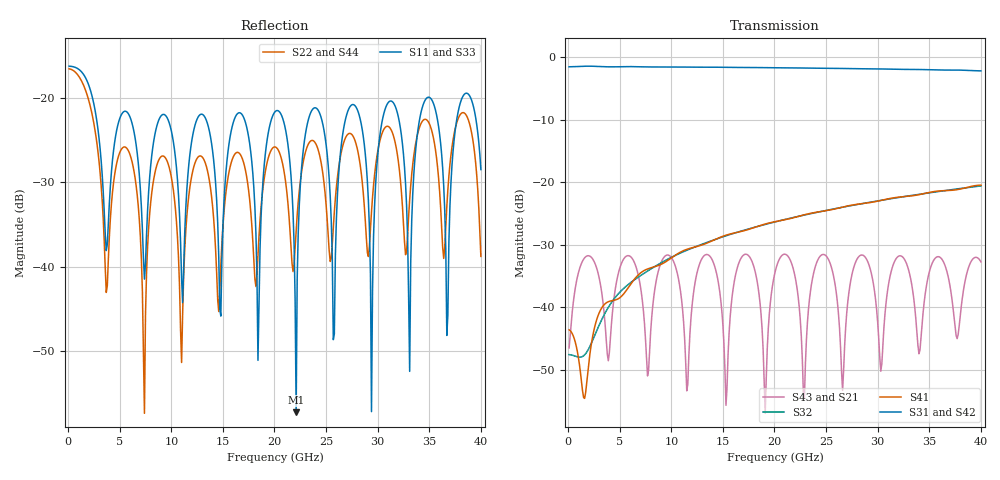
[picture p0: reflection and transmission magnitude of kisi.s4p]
! T_ts6_broadside_o0: Broadside: In2 over In3 across the 0.93 mm core, lateral offset 0 mm, 20 mm
! stackup: ThunderScope Rev5.3 6-layer (FR408HR / FR-4, from the board file)
! ports: 1 near A, 2 near B, 3 far A, 4 far B
! kisi-fdtd, conformal, dfine 0.035 mm, 615328 cells
# Hz S RI R 50
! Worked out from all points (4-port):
!   400 points, 100 MHz to 40 GHz, reference 50 ohm
!   strongest paths, dB at 100 MHz, 10.1 GHz, 20.1 GHz, 30.1 GHz, 40 GHz:
!     S31: -1.5, -1.5, -1.7, -1.8, -2.2
!     S42: -1.4, -1.5, -1.7, -1.9, -2.2
!     S41: -43.6, -32.0, -26.3, -23.0, -20.4
!     S32: -47.6, -31.9, -26.3, -22.9, -20.6
!     S43: -46.5, -32.3, -34.1, -44.9, -32.7
!     S21: -46.5, -32.3, -34.1, -44.9, -32.7
!   lowest |S11| = -57.3 dB at 22.1 GHz (marker M1), VSWR 1.00, Z = 49.9 - j0.125 ohm
!   |S11| at or under -10 dB: start of sweep to end of sweep
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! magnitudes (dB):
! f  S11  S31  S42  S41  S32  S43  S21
! 100 MHz  -16.2  -1.5  -1.4  -43.6  -47.6  -46.5  -46.5
! 7.4 GHz  -41.5  -1.5  -1.5  -34.1  -34.5  -42.6  -42.6
! 20.4 GHz  -21.5  -1.7  -1.7  -26.2  -26.2  -32.6  -32.6
! 22.1 GHz  -57.3  -1.7  -1.7  -25.5  -25.5  -36.0  -36.0
! 23.7 GHz  -21.3  -1.7  -1.7  -24.9  -24.9  -35.2  -35.2
! 29.4 GHz  -57.2  -1.8  -1.9  -23.2  -23.1  -34.7  -34.7
! 40 GHz  -28.5  -2.2  -2.2  -20.4  -20.6  -32.7  -32.7
